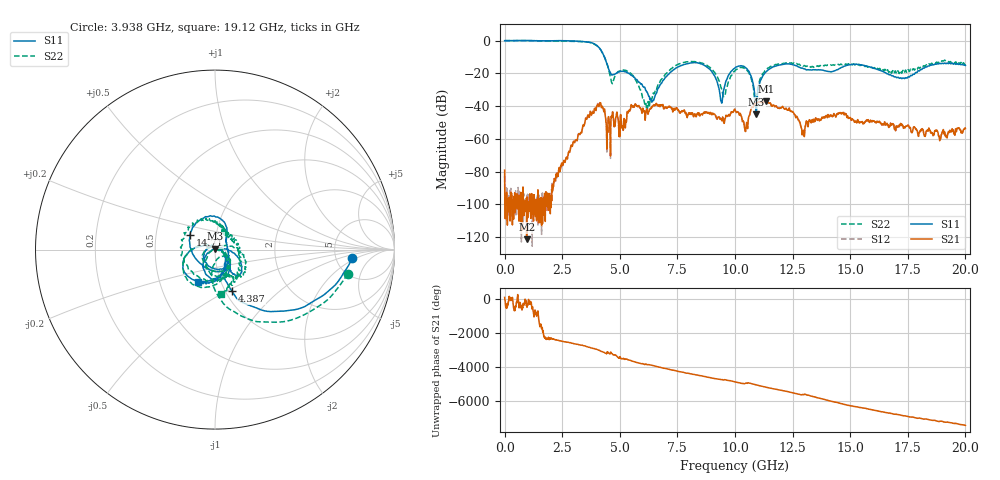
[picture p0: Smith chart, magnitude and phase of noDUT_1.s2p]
#  HZ  S  RI  R  50.00
! Rohde & Schwarz Vector Network Analyzer
! Rohde-Schwarz,ZNB20-2Port,1311601062102128,3.60
! Created: UTC 4/29/2024, 3:49:50 PM
! freq[Hz]  re:S11  im:S11  re:S21  im:S21  re:S12  im:S12  re:S22  im:S22
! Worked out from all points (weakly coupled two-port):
!   2007 points, 100 kHz to 20 GHz, reference 50 ohm
!   highest |S21| = -37.13 dB at 11.34 GHz (marker M1); lowest = -121.3 dB at 957.2 MHz (marker M2)
!   lowest |S11| = -45.1 dB at 10.93 GHz (marker M3), VSWR 1.01, Z = 50.1 + j0.543 ohm
!   |S11| at or under -10 dB: 4.333 GHz to end of sweep
!   |S22| runs from -42.9 to 0.1 dB; largest |S21 - S12| = 0.00078
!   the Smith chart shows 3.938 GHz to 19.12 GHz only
!   S11 on the Smith chart (normalised r, x): 3.938 GHz: 7.18, -1.60; 4.387 GHz: 1.07, -0.53; 14.71 GHz: 0.75, +0.13; 19.12 GHz: 0.78, -0.29
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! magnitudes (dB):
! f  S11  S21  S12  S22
! 100 kHz  0.0  -79.1  -82.7  0.1
! 957.2 MHz  0.1  -121.3  -100.6  0.0
! 2.333 GHz  0.0  -80.7  -80.4  -0.3
! 3.34 GHz  -0.6  -56.4  -56.1  -0.6
! 3.938 GHz  -2.3  -41.4  -41.0  -2.5
! 4.387 GHz  -12.1  -47.7  -47.5  -11.8
! 4.666 GHz  -20.9  -44.8  -44.7  -25.9
! 5.533 GHz  -21.4  -40.2  -40.2  -21.0
! 6.182 GHz  -31.3  -42.6  -42.6  -42.9
! 6.67 GHz  -28.9  -39.4  -39.4  -26.6
! 8.345 GHz  -13.5  -45.0  -44.9  -13.0
! 9.422 GHz  -38.2  -48.5  -48.4  -29.5
! 10 GHz  -16.7  -42.1  -42.0  -18.4
! 10.47 GHz  -16.5  -54.4  -54.5  -17.3
! 10.93 GHz  -45.1  -38.5  -38.5  -38.0
! 11.34 GHz  -19.2  -37.1  -37.1  -18.0
! 12.94 GHz  -16.9  -55.8  -55.7  -15.5
! 13.34 GHz  -17.9  -48.4  -48.4  -15.8
! 14.71 GHz  -15.9  -43.8  -43.5  -14.3
! 16.67 GHz  -20.7  -53.0  -53.1  -19.4
! 19.12 GHz  -13.9  -58.2  -58.0  -12.1
! 20 GHz  -15.2  -53.8  -53.8  -14.4
